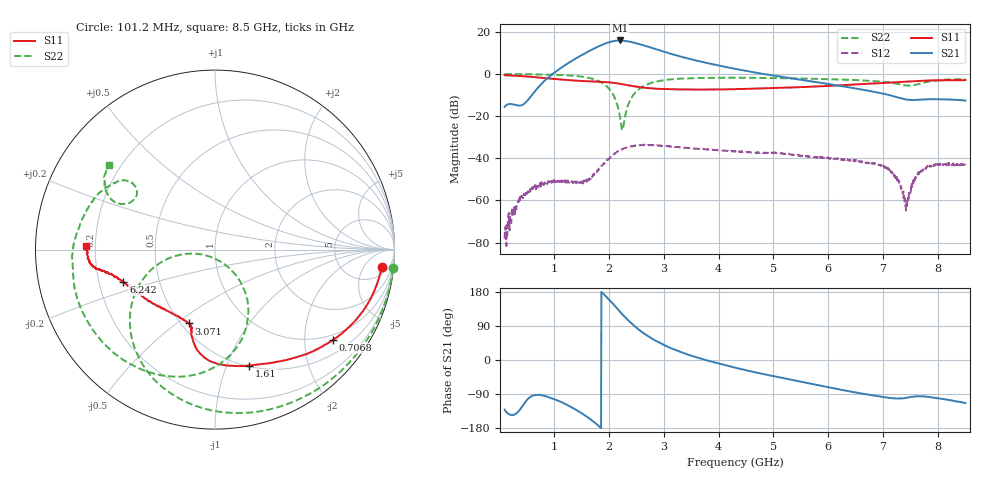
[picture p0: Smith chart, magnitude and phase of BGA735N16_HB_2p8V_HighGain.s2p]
! S-Parameter file
! MATLAB S2P writer
! (c) DICE Linz
! Infineon Technologies
! Date: 09.09.2009 10:10
!BGA735N16
!2.80V; 2.80V;
!25.00 deg
# MHZ S MA R 50
!  S11  S21  S12  S22
!  f  mag  angle  mag  angle  mag  angle  mag  angle
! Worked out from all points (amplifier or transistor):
!   1582 points, 101.2 MHz to 8.5 GHz, reference 50 ohm
!   highest |S21| = 15.9 dB at 2.2 GHz (marker M1)
!   |S21| within 3 dB of that: 1.798 GHz to 2.72 GHz (921.8 MHz wide, 40.8 % of centre)
!   unconditionally stable (mu >= 1): start of sweep to end of sweep
!   at 1.498 GHz: K = 9.19, MAG = 17.5 dB, |S12| = -51.5 dB
!   at 4.303 GHz: K = 7.11, MAG = 8.1 dB, |S12| = -36.8 dB
!   at 8.5 GHz: K = 64.44, MAG = -5.8 dB, |S12| = -43.3 dB
!   lowest NFmin = 0.86 dB at 2.14 GHz
!   S11 on the Smith chart (normalised r, x): 101.2 MHz: 9, -13; 706.8 MHz: 0.85, -2.71; 1.61 GHz: 0.51, -1.20; 3.071 GHz: 0.55, -0.56; 6.242 GHz: 0.31, -0.16; 8.5 GHz: 0.16, +0.02
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101.2339  0.9342 -6.1  0.1648 -131.0  0.0001223 122.7  0.9981 -6.0
706.8376  0.8267 -37.5  0.471 -92.0  0.002057 86.9  0.9765 -41.5
1142.447  0.7381 -55.9  1.433 -111.7  0.002717 77.7  0.9421 -70.6
1503.684  0.6823 -69.7  2.788 -140.3  0.002705 96.2  0.8669 -100.0
1609.931  0.6732 -73.7  3.327 -150.6  0.003132 108.2  0.8238 -110.2
1795.862  0.6558 -80.9  4.407 -171.6  0.00532 125.2  0.699 -130.3
1976.48  0.6368 -88.5  5.515 164.0  0.00908 125.4  0.49 -152.9
2088.039  0.618 -93.3  6.048 146.7  0.01225 116.4  0.3081 -166.8
2199.597  0.5873 -97.9  6.249 128.4  0.01537 104.9  0.1034 -167.0
2353.654  0.5397 -102.4  5.941 104.8  0.01854 86.4  0.1855 -50.8
2555.522  0.4898 -105.6  5.131 79.2  0.02033 66.4  0.4422 -66.1
2714.892  0.4637 -106.6  4.448 62.8  0.02072 53.4  0.5782 -79.9
2900.823  0.4457 -107.7  3.729 47.1  0.02003 40.0  0.6791 -94.2
3070.817  0.436 -109.3  3.184 35.2  0.01942 31.5  0.7337 -105.2
3554.237  0.4278 -116.3  2.147 9.2  0.01693 12.9  0.7994 -129.6
4303.273  0.436 -130.9  1.326 -20.3  0.01446 -3.5  0.8159 -156.1
5700.411  0.5004 -152.2  0.665 -63.0  0.01079 -33.0  0.7687 171.4
6242.267  0.5412 -160.6  0.5148 -78.9  0.009277 -43.2  0.7389 159.4
7102.862  0.6236 -168.3  0.318 -99.7  0.005311 -80.0  0.6342 142.5
7426.913  0.6583 -170.4  0.2472 -99.9  0.0008774 -3.1  0.5322 144.9
7766.901  0.6932 -173.0  0.2493 -96.2  0.005652 1.8  0.6352 154.3
8500  0.7179 178.2  0.234 -113.5  0.006878 -43.4  0.7574 141.5
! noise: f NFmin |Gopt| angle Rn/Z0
2140  0.86  0.391  92  6.3
